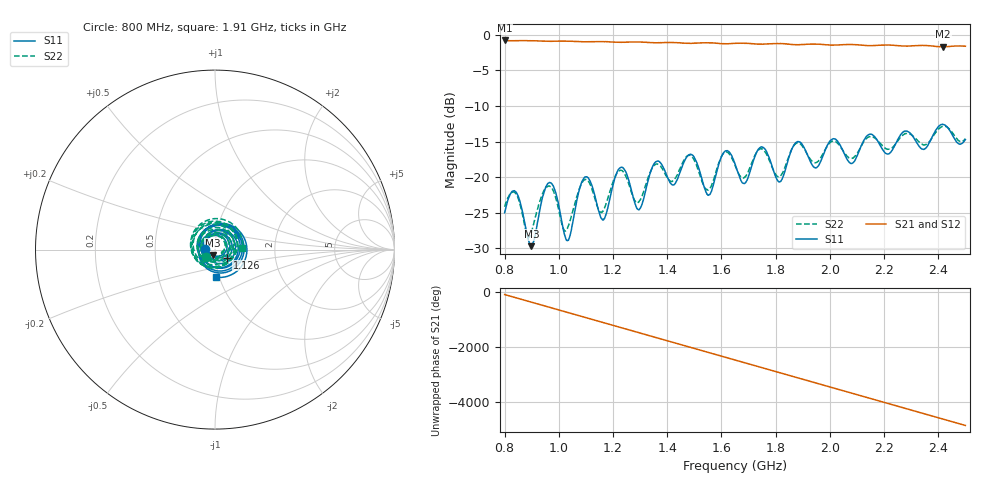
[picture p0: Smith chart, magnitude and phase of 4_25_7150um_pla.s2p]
!Keysight Technologies N9950B: A.12.38
!Date: Tuesday, 25 April 2023 12:31:35
!Timezone: (UTC-06:00) Central Time (US & Canada)
!Model: N9950B
!Serial: MY61131330
!GPS Latitude:
!GPS Longitude:
!GPS TimeStamp: 0001-01-01 00:00:00Z
!GPS Seconds Since Last Read: 0
!CHECKSUM:1416468995
!Correction: S11(Rdy)S21(Rdy)S12(Rdy)S22(Rdy)
!S2P File: Measurements:S11,S21,S12,S22:
# Hz S DB R 50
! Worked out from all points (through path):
!   1001 points, 800 MHz to 2.5 GHz, reference 50 ohm
!   highest |S21| = -0.81 dB at 800 MHz (marker M1); lowest = -1.7 dB at 2.418 GHz (marker M2)
!   group delay of S21, straight-line fit = 7.77 ns
!   lowest |S11| = -29.7 dB at 898.6 MHz (marker M3), VSWR 1.07, Z = 48.6 - j2.92 ohm
!   |S11| at or under -10 dB: start of sweep to end of sweep
!   |S22| runs from -28.5 to -12.8 dB; largest |S21 - S12| = 0.0045
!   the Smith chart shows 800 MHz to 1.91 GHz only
!   S11 on the Smith chart (normalised r, x): 800 MHz: 0.89, +0.01; 1.126 GHz: 1.14, -0.10; 1.91 GHz: 0.97, -0.31
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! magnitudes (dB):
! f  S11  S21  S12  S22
! 800 MHz  -25.0  -0.8  -0.8  -24.1
! 842.5 MHz  -22.1  -0.9  -0.9  -22.4
! 898.6 MHz  -29.7  -0.9  -0.9  -27.8
! 958.1 MHz  -21.0  -0.9  -0.9  -21.3
! 1.031 GHz  -28.9  -0.9  -0.9  -27.2
! 1.084 GHz  -20.7  -1.0  -1.0  -20.9
! 1.126 GHz  -21.7  -1.0  -1.0  -22.1
! 1.165 GHz  -26.0  -1.0  -1.0  -24.6
! 1.234 GHz  -18.6  -1.0  -1.1  -19.1
! 1.296 GHz  -24.6  -1.0  -1.0  -23.4
! 1.368 GHz  -17.7  -1.1  -1.1  -18.2
! 1.422 GHz  -21.1  -1.1  -1.1  -20.5
! 1.492 GHz  -16.9  -1.2  -1.2  -17.1
! 1.551 GHz  -22.5  -1.1  -1.1  -21.8
! 1.65 GHz  -18.1  -1.2  -1.2  -18.3
! 1.752 GHz  -15.8  -1.3  -1.3  -16.1
! 1.815 GHz  -20.7  -1.2  -1.2  -19.9
! 1.91 GHz  -16.2  -1.4  -1.4  -16.3
! 1.934 GHz  -18.2  -1.3  -1.3  -17.7
! 2.218 GHz  -16.7  -1.5  -1.5  -16.1
! 2.418 GHz  -12.6  -1.7  -1.7  -12.8
! 2.5 GHz  -14.7  -1.6  -1.6  -14.6
